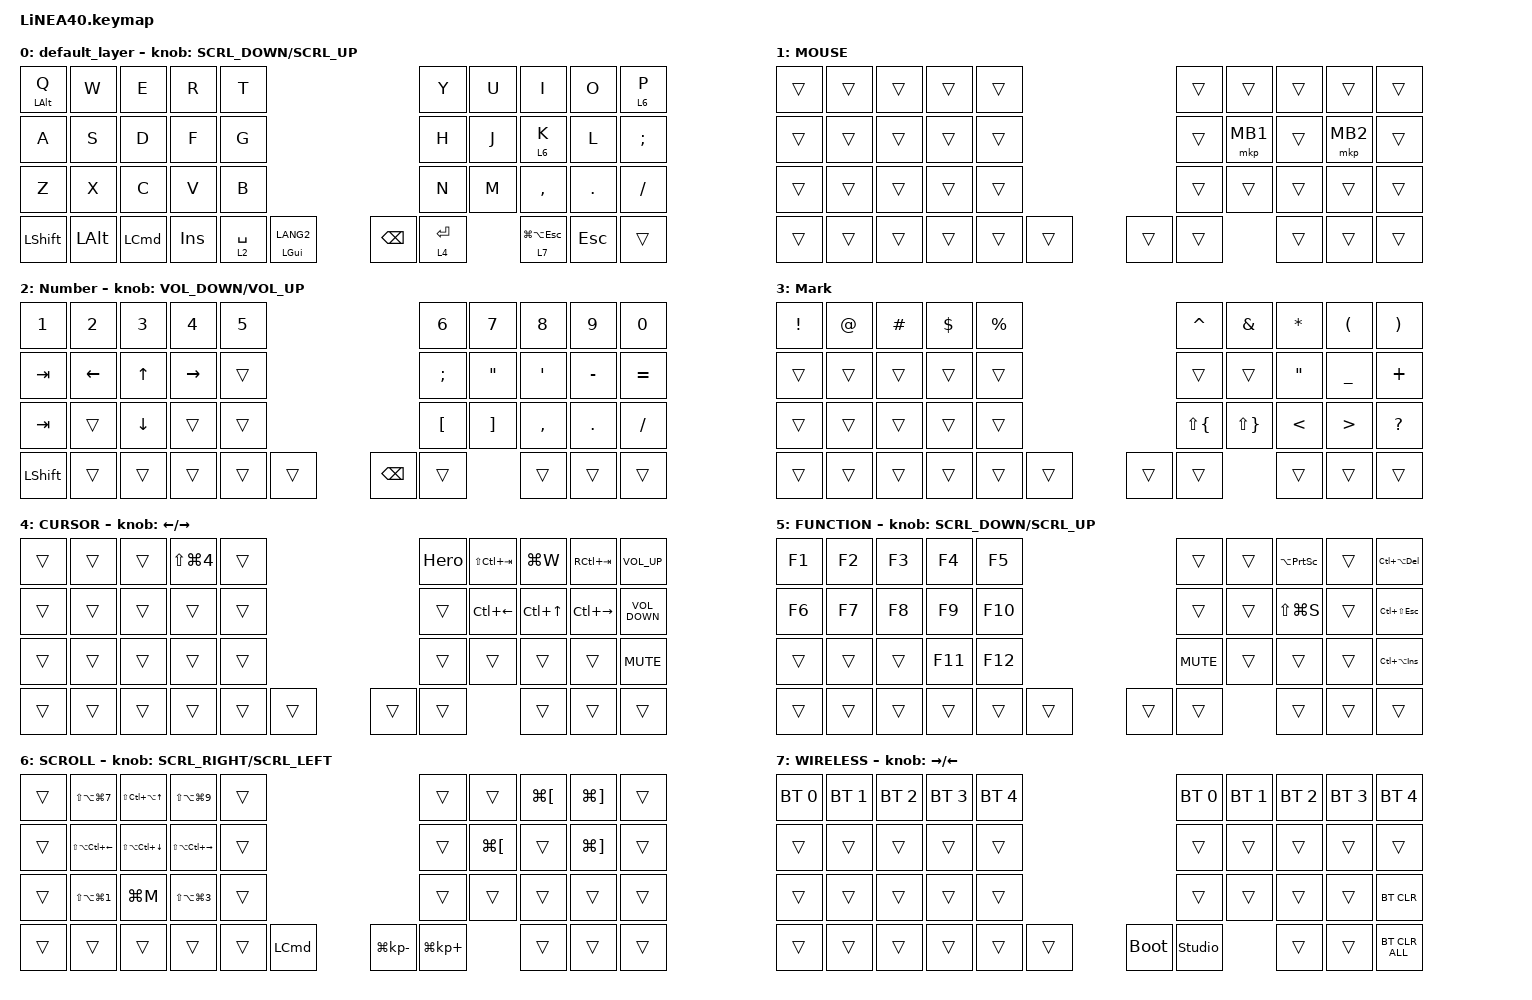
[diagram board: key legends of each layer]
#define ZMK_POINTING_DEFAULT_SCRL_VAL 300

#include <dt-bindings/zmk/input_transform.h>
#include <input/processors.dtsi>
#include <zephyr/dt-bindings/input/input-event-codes.h>
#include <behaviors.dtsi>
#include <dt-bindings/zmk/bt.h>
#include <dt-bindings/zmk/keys.h>
#include <dt-bindings/zmk/pointing.h>

#define MOUSE 1
#define MARK 2
#define CURSOR 3
#define FUNCTION 4
#define SCROLL 6
#define WIRELESS 7

&mmv {
    delay-ms = <20>;
    trigger-period-ms = <5>;
    time-to-max-speed-ms = <100>;
    acceleration-exponent = <2>;
};

&msc {
    delay-ms = <3>;
    trigger-period-ms = <3>;
    time-to-max-speed-ms = <100>;
    acceleration-exponent = <0>;
};

/ {
    input_processors {
        zip_wheel_scaler: zip_wheel_scaler {
            compatible = "zmk,input-processor-scaler";
            #input-processor-cells = <2>;
            type = <INPUT_EV_REL>;
            codes = <INPUT_REL_WHEEL>;
        };
    };

    combos {
        compatible = "zmk,combos";

        ZenkakuHankaku {
            bindings = <&kp GRAVE>;
            key-positions = <11 12>;
        };

        DeleteKey {
            bindings = <&kp DEL>;
            key-positions = <7 8>;
        };

        InsertKey {
            bindings = <&kp INS>;
            key-positions = <6 7>;
        };

        RightClick {
            bindings = <&mkp MB2>;
            key-positions = <18 17>;
        };

        PrevClick {
            bindings = <&mkp MB4>;
            key-positions = <27 28>;
        };

        ClickNext {
            bindings = <&mkp MB5>;
            key-positions = <26 27>;
        };

        alfred_f4 {
            bindings = <&kp F4>;
            key-positions = <12 13>;
        };

        Lang1 {
            bindings = <&kp LANG1>;
            key-positions = <16 17>;
        };
    };

    behaviors {
        re_kp: sensor_rotate_kp {
            compatible = "zmk,behavior-sensor-rotate-var";
            #sensor-binding-cells = <2>;
            bindings = <&kp>, <&kp>;
        };

        mouse_scrl: mouse_wheel_scrl {
            compatible = "zmk,behavior-sensor-rotate-var";
            #sensor-binding-cells = <2>;
            bindings = <&msc>, <&msc>;

            tap-ms = <20>;
        };
    };

    macros {
        Hero: Hero {
            compatible = "zmk,behavior-macro";
            #binding-cells = <0>;
            bindings = <&kp LS(M) &kp A &kp T &kp E &kp T &kp A &kp Z &kp I &kp ENTER>;
            label = "HERO";
        };
    };

    keymap {
        compatible = "zmk,keymap";

        default_layer {
            bindings = <
&mt LEFT_ALT Q  &kp W         &kp E             &kp R    &kp T                                             &kp Y        &kp U  &kp I              &kp O    &lt 6 P
&kp A           &kp S         &kp D             &kp F    &kp G                                             &kp H        &kp J  &lt 6 K            &kp L    &kp SEMI
&kp Z           &kp X         &kp C             &kp V    &kp B                                             &kp N        &kp M  &kp COMMA          &kp DOT  &kp SLASH
&kp LEFT_SHIFT  &kp LEFT_ALT  &kp LEFT_COMMAND  &kp INS  &lt 2 SPACE  &mt LEFT_GUI LANG2    &kp BACKSPACE  &lt 4 ENTER         &lt 7 LG(LA(ESC))  &kp ESC  &trans
            >;

            sensor-bindings = <&mouse_scrl SCRL_DOWN SCRL_UP>;
        };

        MOUSE {
            bindings = <
&trans  &trans  &trans  &trans  &trans                    &trans  &trans    &trans  &trans    &trans
&trans  &trans  &trans  &trans  &trans                    &trans  &mkp MB1  &trans  &mkp MB2  &trans
&trans  &trans  &trans  &trans  &trans                    &trans  &trans    &trans  &trans    &trans
&trans  &trans  &trans  &trans  &trans  &trans    &trans  &trans            &trans  &trans    &trans
            >;
        };

        Number {
            bindings = <
&kp N1          &kp N2    &kp N3    &kp N4           &kp NUMBER_5                           &kp N6            &kp NUMBER_7       &kp N8     &kp N9      &kp N0
&kp TAB         &kp LEFT  &kp UP    &kp RIGHT_ARROW  &trans                                 &kp SEMICOLON     &kp DQT            &kp SQT    &kp MINUS   &kp EQUAL
&kp TAB         &trans    &kp DOWN  &trans           &trans                                 &kp LEFT_BRACKET  &kp RIGHT_BRACKET  &kp COMMA  &kp PERIOD  &kp SLASH
&kp LEFT_SHIFT  &trans    &trans    &trans           &trans        &trans    &kp BACKSPACE  &trans                               &trans     &trans      &trans
            >;

            sensor-bindings = <&re_kp C_VOLUME_DOWN C_VOLUME_UP>;
        };

        Mark {
            bindings = <
&kp EXCLAMATION  &kp AT  &kp POUND  &kp DOLLAR  &kp PERCENT                    &kp CARET           &kp AMPERSAND        &kp ASTERISK       &kp LEFT_PARENTHESIS  &kp RIGHT_PARENTHESIS
&trans           &trans  &trans     &trans      &trans                         &trans              &trans               &kp DOUBLE_QUOTES  &kp UNDERSCORE        &kp PLUS
&trans           &trans  &trans     &trans      &trans                         &kp LS(LEFT_BRACE)  &kp LS(RIGHT_BRACE)  &kp LESS_THAN      &kp GREATER_THAN      &kp QUESTION
&trans           &trans  &trans     &trans      &trans       &trans    &trans  &trans                                   &trans             &trans                &trans
            >;
        };

        CURSOR {
            bindings = <
&trans  &trans  &trans  &kp LS(LG(N4))  &trans                    &Hero   &kp LS(LC(TAB))  &kp LG(W)   &kp RC(TAB)          &kp C_VOLUME_UP
&trans  &trans  &trans  &trans          &trans                    &trans  &kp LC(LEFT)     &kp LC(UP)  &kp LC(RIGHT_ARROW)  &kp C_VOLUME_DOWN
&trans  &trans  &trans  &trans          &trans                    &trans  &trans           &trans      &trans               &kp K_MUTE
&trans  &trans  &trans  &trans          &trans  &trans    &trans  &trans                   &trans      &trans               &trans
            >;

            sensor-bindings = <&inc_dec_kp LEFT_ARROW RIGHT_ARROW>;
        };

        FUNCTION {
            bindings = <
&kp F1  &kp F2  &kp F3  &kp F4   &kp F5                     &trans      &trans  &kp LA(PRINTSCREEN)  &trans  &kp LC(LA(DELETE))
&kp F6  &kp F7  &kp F8  &kp F9   &kp F10                    &trans      &trans  &kp LS(LG(S))        &trans  &kp LC(LS(ESCAPE))
&trans  &trans  &trans  &kp F11  &kp F12                    &kp C_MUTE  &trans  &trans               &trans  &kp LC(LA(INS))
&trans  &trans  &trans  &trans   &trans   &trans    &trans  &trans              &trans               &trans  &trans
            >;

            sensor-bindings = <&mouse_scrl SCRL_DOWN SCRL_UP>;
        };

        SCROLL {
            bindings = <
&trans  &kp LS(LA(LG(N7)))          &kp LS(LC(LA(UP_ARROW)))  &kp LS(LA(LG(N9)))           &trans                                        &trans           &trans                &kp LG(LEFT_BRACKET)  &kp LG(RIGHT_BRACKET)  &trans
&trans  &kp LS(LA(LC(LEFT_ARROW)))  &kp LS(LA(LC(DOWN)))      &kp LS(LA(LC(RIGHT_ARROW)))  &trans                                        &trans           &kp LG(LEFT_BRACKET)  &trans                &kp LG(RIGHT_BRACKET)  &trans
&trans  &kp LS(LA(LG(NUMBER_1)))    &kp LG(M)                 &kp LS(LA(LG(NUMBER_3)))     &trans                                        &trans           &trans                &trans                &trans                 &trans
&trans  &trans                      &trans                    &trans                       &trans  &kp LEFT_COMMAND    &kp LG(KP_MINUS)  &kp LG(KP_PLUS)                        &trans                &trans                 &trans
            >;

            sensor-bindings = <&mouse_scrl SCRL_RIGHT SCRL_LEFT>;
        };

        WIRELESS {
            bindings = <
&bt BT_SEL 0  &bt BT_SEL 1  &bt BT_SEL 2  &bt BT_SEL 3  &bt BT_SEL 4                         &bt BT_SEL 0    &bt BT_SEL 1  &bt BT_SEL 2  &bt BT_SEL 3  &bt BT_SEL 4
&trans        &trans        &trans        &trans        &trans                               &trans          &trans        &trans        &trans        &trans
&trans        &trans        &trans        &trans        &trans                               &trans          &trans        &trans        &trans        &bt BT_CLR
&trans        &trans        &trans        &trans        &trans        &trans    &bootloader  &studio_unlock                &trans        &trans        &bt BT_CLR_ALL
            >;

            sensor-bindings = <&inc_dec_kp RIGHT_ARROW LEFT_ARROW>;
        };
    };
};

&msc_input_listener {
    speed_up {
        layers = <FUNCTION>;
        input-processors = <&zip_wheel_scaler 3 1>;
    };
};

&trackball_listener {
    scroller {
        layers = <6>;
        input-processors =
            <&zip_xy_scaler 1 20>,
            <&zip_xy_transform INPUT_TRANSFORM_Y_INVERT>,
            <&zip_x_scaler 1 2>,
            <&zip_xy_to_scroll_mapper>;
    };
};
